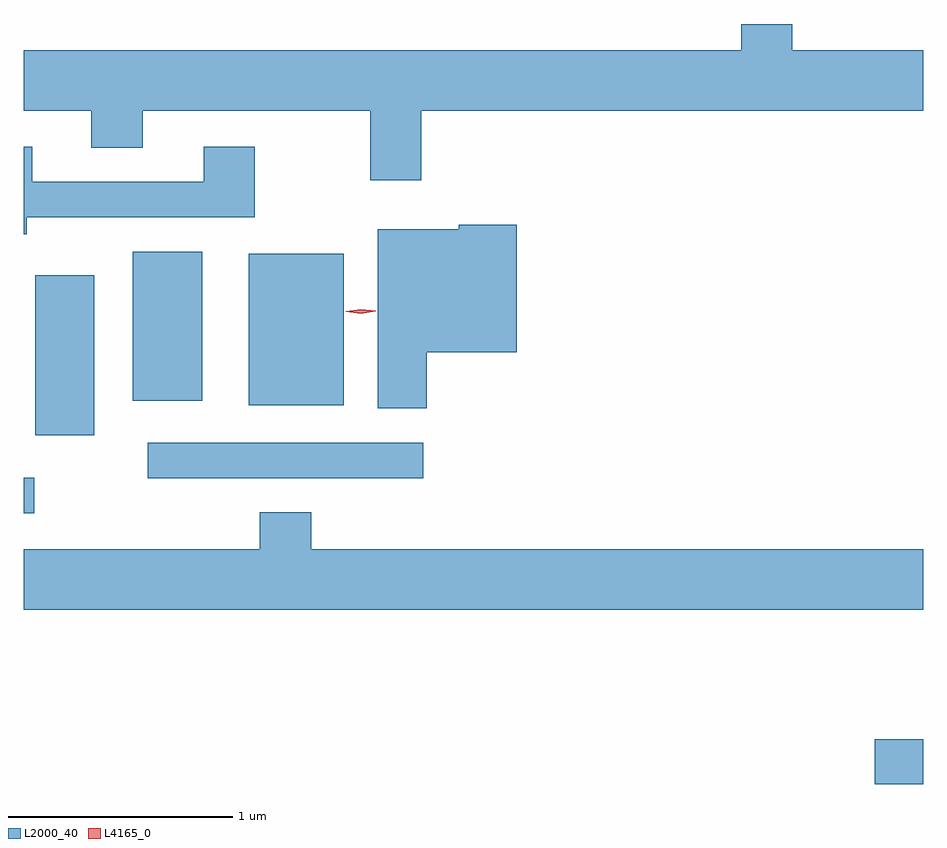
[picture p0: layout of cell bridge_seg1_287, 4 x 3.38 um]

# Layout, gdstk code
import gdstk
lib = gdstk.Library(unit=1e-6, precision=1e-09)
def R(c, l, rs):  # rectangles x0, y0, x1, y1
    for r in rs: c.add(gdstk.rectangle(r[:2], r[2:], *l))
def P(c, l, *ps):  # polygons
    for p in ps: c.add(gdstk.Polygon(p, *l))
L2000_40 = (2000, 40)
L4165_0 = (4165, 0)

bridge_seg1_287 = lib.new_cell('bridge_seg1_287')
R(bridge_seg1_287, L2000_40, [(889.776,889.921,889.991,890.119), (885.991,891.126,886.038,891.284), (886.543,891.281,887.768,891.439), (886.041,891.471,886.304,892.184), (886.991,891.606,887.414,892.279), (886.476,891.626,886.784,892.289)])
P(bridge_seg1_287, L2000_40, [(887.759,892.916),(889.991,892.916),(889.991,893.184),(889.409,893.184),(889.409,893.301),(889.181,893.301),(889.181,893.184),(885.991,893.184),(885.991,892.916),(886.291,892.916),(886.291,892.751),(886.519,892.751),(886.519,892.916),(887.531,892.916),(887.531,892.606),(887.759,892.606)],
  [(886.004,892.441),(887.019,892.441),(887.019,892.754),(886.791,892.754),(886.791,892.599),(886.029,892.599),(886.029,892.754),(885.991,892.754),(885.991,892.366),(886.004,892.366)],
  [(887.784,891.841),(888.184,891.841),(888.184,892.409),(887.926,892.409),(887.926,892.389),(887.566,892.389),(887.566,891.591),(887.784,891.591)],
  [(889.991,890.964),(887.269,890.964),(887.269,891.129),(887.041,891.129),(887.041,890.964),(885.991,890.964),(885.991,890.696),(889.991,890.696)])
P(bridge_seg1_287, L4165_0, [(887.49,892.013),(887.424,892.022),(887.423,892.023),(887.424,892.023),(887.49,892.033),(887.556,892.025),(887.556,892.024),(887.556,892.024)])

lib.write_gds('bridge_seg1_287.gds')
